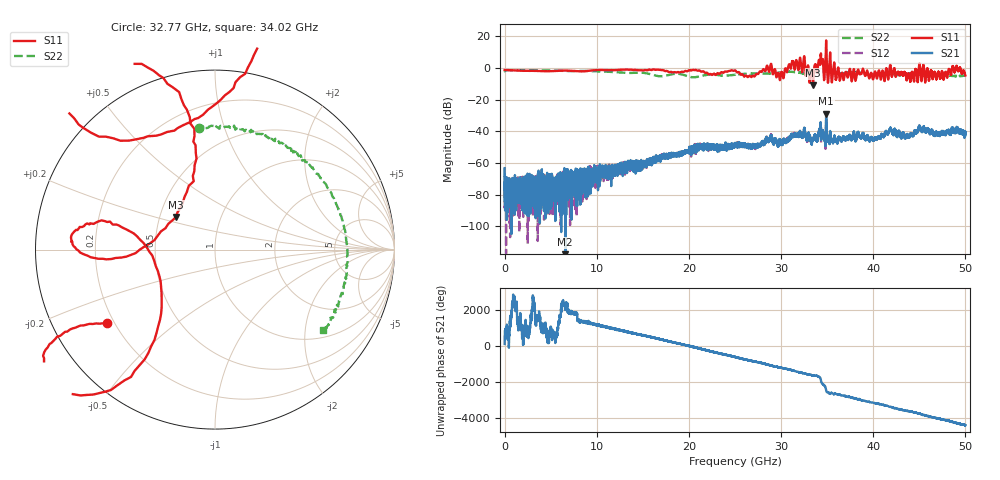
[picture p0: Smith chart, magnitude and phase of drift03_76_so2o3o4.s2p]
!Created with skrf (http://scikit-rf.org).
# Hz S RI R 50.0
!freq ReS11 ImS11 ReS21 ImS21 ReS12 ImS12 ReS22 ImS22
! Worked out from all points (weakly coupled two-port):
!   10001 points, 300 kHz to 50 GHz, reference 50 ohm
!   highest |S21| = -28.84 dB at 34.89 GHz (marker M1); lowest = -120.5 dB at 6.585 GHz (marker M2)
!   lowest |S11| = -11.0 dB at 33.47 GHz (marker M3), VSWR 1.79, Z = 30.4 + j12 ohm
!   |S11| at or under -10 dB: 33.45037 GHz to 33.48404 GHz (33.67 MHz wide, 0.101 % of centre)
!   |S22| runs from -5.9 to -1.3 dB; largest |S21 - S12| = 0.0086
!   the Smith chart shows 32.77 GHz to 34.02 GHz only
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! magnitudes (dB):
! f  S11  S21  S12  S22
! 300 kHz  -1.3  -63.3  -63.4  -2.0
! 400.3 MHz  -1.4  -71.7  -78.8  -1.4
! 6.585 GHz  -1.6  -120.5  -76.9  -1.9
! 8.335 GHz  -2.2  -74.9  -71.7  -1.9
! 16.67 GHz  -1.1  -57.9  -56.0  -5.2
! 25 GHz  -1.5  -50.0  -49.3  -4.3
! 26.92 GHz  -4.9  -49.8  -49.8  -3.5
! 28.73 GHz  -2.2  -44.9  -45.8  -3.5
! 30.06 GHz  -2.5  -47.4  -47.9  -2.8
! 31.87 GHz  -1.4  -43.2  -42.4  -2.9
! 33.34 GHz  -2.2  -48.6  -47.9  -2.9
! 33.47 GHz  -11.0  -44.4  -45.3  -2.8
! 34.29 GHz  6.2  -35.2  -35.1  -2.3
! 34.89 GHz  17.4  -28.8  -31.2  -2.4
! 36.58 GHz  -3.5  -45.7  -45.9  -3.6
! 40.14 GHz  -3.1  -44.9  -44.5  -3.7
! 41.67 GHz  -5.4  -40.8  -40.4  -3.7
! 43.84 GHz  -3.5  -43.6  -43.9  -3.9
! 45.22 GHz  -7.7  -39.6  -39.8  -4.6
! 47.06 GHz  -2.6  -41.6  -41.9  -5.0
! 49.21 GHz  -2.0  -38.2  -39.7  -5.1
! 50 GHz  -4.7  -41.1  -42.5  -5.0
